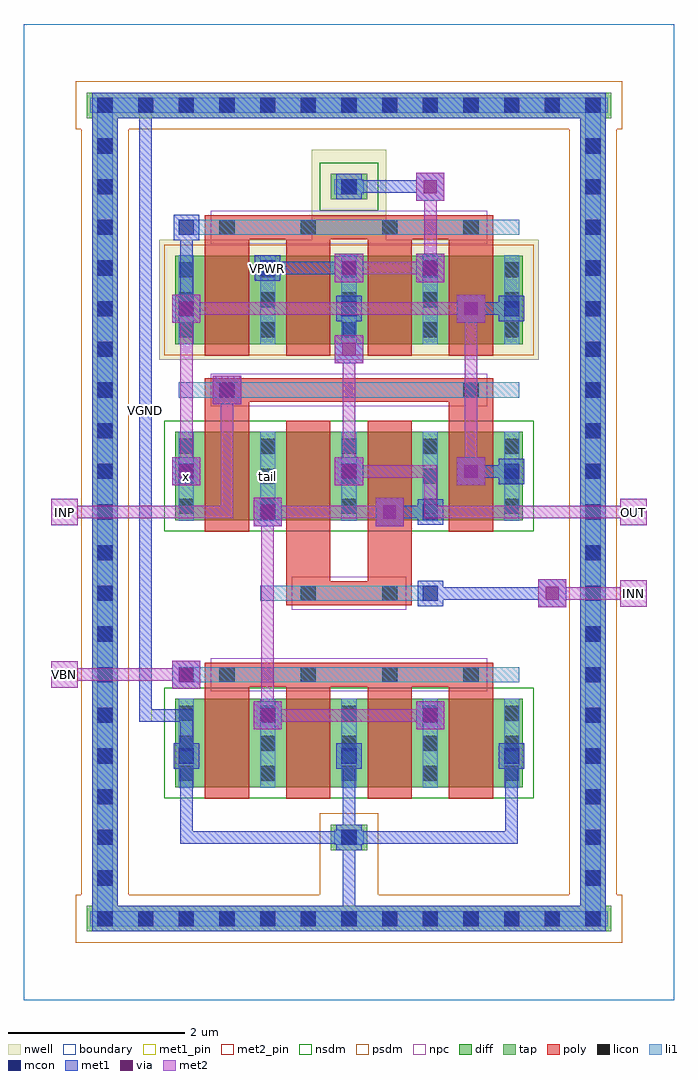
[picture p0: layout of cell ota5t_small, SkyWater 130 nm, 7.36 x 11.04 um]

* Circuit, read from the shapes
.subckt ota5t_small INN INP OUT VBN VGND VPWR tail x
XM1 tail VBN VGND VGND sky130_fd_pr__nfet_01v8 w=1 l=0.5 m=4
XM2 tail INP x VGND sky130_fd_pr__nfet_01v8 w=1 l=0.5 m=2
XM3 OUT INN tail VGND sky130_fd_pr__nfet_01v8 w=1 l=0.5 m=2
XM4 VPWR x x VPWR sky130_fd_pr__pfet_01v8 w=1 l=0.5 m=2
XM5 OUT x VPWR VPWR sky130_fd_pr__pfet_01v8 w=1 l=0.5 m=2
.ends

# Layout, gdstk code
import gdstk
lib = gdstk.Library(unit=1e-6, precision=1e-09)
def R(c, l, rs):  # rectangles x0, y0, x1, y1
    for r in rs: c.add(gdstk.rectangle(r[:2], r[2:], *l))
def A(c, l, x, y, w, h, nx, ny, dx, dy):  # array of equal rectangles
    R(c, l, [(x+i*dx, y+j*dy, x+i*dx+w, y+j*dy+h) for i in range(nx) for j in range(ny)])
nwell = (64, 20)
diff = (65, 20)
tap = (65, 44)
poly = (66, 20)
licon = (66, 44)
li1 = (67, 20)
mcon = (67, 44)
met1_pin = (68, 16)
met1 = (68, 20)
via = (68, 44)
met2_pin = (69, 16)
met2 = (69, 20)
nsdm = (93, 44)
psdm = (94, 20)
npc = (95, 20)
boundary = (235, 4)

ota5t_small = lib.new_cell('ota5t_small')
R(ota5t_small, nwell, [(1.535,7.24,5.825,8.6), (3.26,8.6,4.1,9.62)])
R(ota5t_small, diff, [(1.715,2.405,5.645,3.405), (1.715,5.425,5.645,6.425), (1.715,7.42,5.645,8.42)])
R(ota5t_small, tap, [(0.715,0.775,6.645,1.065), (0.775,0.775,1.065,10.265), (6.295,0.775,6.585,10.265), (3.475,1.695,3.885,1.985), (3.475,9.055,3.885,9.345), (0.715,9.975,6.645,10.265)])
A(ota5t_small, poly, 2.05, 2.275, 0.5, 1.405, 4, 1, 0.92, 0)
A(ota5t_small, poly, 2.05, 7.29, 0.5, 1.45, 4, 1, 0.92, 0)
R(ota5t_small, poly, [(2.05,3.545,5.31,3.815), (2.97,4.465,4.39,4.735), (2.97,4.6,3.47,6.555), (3.89,4.6,4.39,6.555), (2.05,5.295,2.55,6.9), (4.81,5.295,5.31,6.9), (2.05,6.765,5.31,7.035), (2.05,8.605,5.31,8.875)])
A(ota5t_small, licon, 0.835, 0.835, 0.17, 0.17, 13, 2, 0.46, 9.2)
A(ota5t_small, licon, 0.835, 1.755, 0.17, 0.17, 3, 2, 2.76, 7.36)
A(ota5t_small, licon, 0.835, 2.215, 0.17, 0.17, 1, 15, 0, 0.46)
A(ota5t_small, licon, 6.355, 2.215, 0.17, 0.17, 1, 15, 0, 0.46)
A(ota5t_small, licon, 1.755, 2.48, 0.17, 0.17, 5, 3, 0.92, 0.34)
A(ota5t_small, licon, 2.215, 3.595, 0.17, 0.17, 4, 2, 0.92, 5.06)
A(ota5t_small, licon, 1.755, 5.5, 0.17, 0.17, 5, 3, 0.92, 0.34)
A(ota5t_small, licon, 1.755, 7.495, 0.17, 0.17, 5, 3, 0.92, 0.34)
R(ota5t_small, licon, [(0.835,1.295,1.005,1.465), (6.355,1.295,6.525,1.465), (3.135,4.515,3.305,4.685), (4.055,4.515,4.225,4.685), (2.215,6.815,2.385,6.985), (4.975,6.815,5.145,6.985), (0.835,9.575,1.005,9.745), (6.355,9.575,6.525,9.745)])
A(ota5t_small, li1, 1.755, 2.4, 0.17, 1.01, 5, 2, 0.92, 3.02)
A(ota5t_small, li1, 1.755, 7.415, 0.17, 1.01, 5, 1, 0.92, 0)
R(ota5t_small, li1, [(0.755,0.835,6.605,1.005), (0.835,0.835,1.005,10.205), (6.355,0.835,6.525,10.205), (3.515,1.755,3.845,1.925), (1.755,3.595,5.605,3.765), (2.675,4.515,4.685,4.685), (1.755,6.815,5.605,6.985), (1.755,8.655,5.605,8.825), (3.515,9.115,3.845,9.285), (0.755,10.035,6.605,10.205)])
A(ota5t_small, mcon, 0.835, 0.835, 0.17, 0.17, 13, 2, 0.46, 9.2)
A(ota5t_small, mcon, 0.835, 1.755, 0.17, 0.17, 3, 2, 2.76, 7.36)
A(ota5t_small, mcon, 1.755, 2.675, 0.17, 0.17, 3, 2, 1.84, 3.22)
A(ota5t_small, mcon, 0.835, 3.135, 0.17, 0.17, 4, 2, 1.84, 2.3)
A(ota5t_small, mcon, 0.835, 3.595, 0.17, 0.17, 1, 4, 0, 0.46)
A(ota5t_small, mcon, 6.355, 3.595, 0.17, 0.17, 1, 4, 0, 0.46)
A(ota5t_small, mcon, 0.835, 5.895, 0.17, 0.17, 1, 5, 0, 0.46)
A(ota5t_small, mcon, 6.355, 5.895, 0.17, 0.17, 1, 5, 0, 0.46)
A(ota5t_small, mcon, 1.755, 7.735, 0.17, 0.17, 3, 1, 1.84, 0)
A(ota5t_small, mcon, 0.835, 8.195, 0.17, 0.17, 4, 1, 1.84, 0)
R(ota5t_small, mcon, [(0.835,1.295,1.005,1.465), (6.355,1.295,6.525,1.465), (0.835,2.215,1.005,2.385), (6.355,2.215,6.525,2.385), (0.835,2.675,1.005,2.845), (6.355,2.675,6.525,2.845), (1.755,3.595,1.925,3.765), (4.515,4.515,4.685,4.685), (2.215,6.815,2.385,6.985), (0.835,8.655,1.005,8.825), (1.755,8.655,1.925,8.825), (6.355,8.655,6.525,8.825), (0.835,9.575,1.005,9.745), (6.355,9.575,6.525,9.745)])
R(ota5t_small, met1_pin, [(1.31,3.15,1.45,10.19), (2.615,8.135,2.905,8.425)])
A(ota5t_small, met1, 1.77, 1.77, 0.14, 1.06, 3, 1, 1.84, 0)
A(ota5t_small, met1, 1.695, 2.615, 0.29, 0.29, 3, 2, 1.84, 3.22)
A(ota5t_small, met1, 1.695, 7.675, 0.29, 0.29, 3, 1, 1.84, 0)
R(ota5t_small, met1, [(0.775,0.775,6.585,1.065), (0.775,0.775,1.065,10.265), (6.295,0.775,6.585,10.265), (3.61,0.85,3.75,1.91), (3.61,0.85,3.75,0.99), (3.535,1.695,3.825,1.985), (1.77,1.77,3.75,1.91), (3.61,1.77,3.75,1.91), (3.61,1.77,5.59,1.91), (1.77,2.69,1.91,3.29), (2.6,3.06,2.92,3.38), (4.44,3.06,4.76,3.38), (2.615,3.075,2.905,3.365), (4.455,3.075,4.745,3.365), (1.31,3.15,1.91,3.29), (1.31,3.15,1.45,10.19), (1.68,3.52,2,3.84), (1.695,3.535,1.985,3.825), (5.82,4.44,6.14,4.76), (4.455,4.455,4.745,4.745), (4.53,4.53,6.05,4.67), (2.6,5.36,2.92,5.68), (3.98,5.36,4.3,5.68), (2.615,5.375,2.905,5.665), (4.455,5.375,4.745,5.665), (4.07,5.45,4.67,5.59), (1.68,5.82,2,6.14), (3.52,5.82,3.84,6.14), (4.9,5.82,5.22,6.14), (4.99,5.91,5.59,6.05), (2.14,6.74,2.46,7.06), (2.155,6.755,2.445,7.045), (3.52,7.2,3.84,7.52), (3.61,7.29,3.75,7.89), (1.68,7.66,2,7.98), (4.9,7.66,5.22,7.98), (1.77,7.75,1.91,8.81), (4.99,7.75,5.59,7.89), (3.52,8.12,3.84,8.44), (4.44,8.12,4.76,8.44), (2.615,8.135,2.905,8.425), (4.455,8.135,4.745,8.425), (2.69,8.21,3.75,8.35), (1.695,8.595,1.985,8.885), (4.44,9.04,4.76,9.36), (3.535,9.055,3.825,9.345), (3.61,9.13,3.75,9.27), (3.61,9.13,4.67,9.27), (0.775,9.975,6.585,10.265), (1.31,10.05,1.45,10.19)])
R(ota5t_small, via, [(2.685,3.145,2.835,3.295), (4.525,3.145,4.675,3.295), (1.765,3.605,1.915,3.755), (5.905,4.525,6.055,4.675), (2.685,5.445,2.835,5.595), (4.065,5.445,4.215,5.595), (1.765,5.905,1.915,6.055), (3.605,5.905,3.755,6.055), (4.985,5.905,5.135,6.055), (2.225,6.825,2.375,6.975), (3.605,7.285,3.755,7.435), (1.765,7.745,1.915,7.895), (4.985,7.745,5.135,7.895), (3.605,8.205,3.755,8.355), (4.525,8.205,4.675,8.355), (4.525,9.125,4.675,9.275)])
R(ota5t_small, met2_pin, [(0.31,3.53,0.61,3.83), (6.75,4.45,7.05,4.75), (0.31,5.37,0.61,5.67), (6.75,5.37,7.05,5.67)])
R(ota5t_small, met2, [(2.6,3.06,2.92,3.38), (4.44,3.06,4.76,3.38), (2.69,3.15,2.83,5.59), (2.69,3.15,4.67,3.29), (1.68,3.52,2,3.84), (0.31,3.53,0.61,3.83), (0.39,3.61,1.91,3.75), (0.39,3.61,0.53,3.75), (5.82,4.44,6.14,4.76), (6.75,4.45,7.05,4.75), (5.91,4.53,6.97,4.67), (6.83,4.53,6.97,4.67), (2.6,5.36,2.92,5.68), (3.98,5.36,4.3,5.68), (0.31,5.37,0.61,5.67), (6.75,5.37,7.05,5.67), (0.39,5.45,2.37,5.59), (0.39,5.45,0.53,5.59), (2.23,5.45,2.37,6.97), (2.69,5.45,4.21,5.59), (4.53,5.45,4.67,6.05), (4.53,5.45,6.97,5.59), (6.83,5.45,6.97,5.59), (1.68,5.82,2,6.14), (3.52,5.82,3.84,6.14), (4.9,5.82,5.22,6.14), (1.77,5.91,1.91,7.89), (3.61,5.91,4.67,6.05), (3.61,5.91,3.75,7.43), (4.99,5.91,5.13,7.89), (2.14,6.74,2.46,7.06), (3.52,7.2,3.84,7.52), (1.68,7.66,2,7.98), (4.9,7.66,5.22,7.98), (1.77,7.75,5.13,7.89), (3.52,8.12,3.84,8.44), (4.44,8.12,4.76,8.44), (3.61,8.21,4.67,8.35), (4.53,8.21,4.67,9.27), (4.44,9.04,4.76,9.36)])
R(ota5t_small, nsdm, [(1.59,2.28,5.77,3.53), (1.59,5.3,5.77,6.55), (3.35,8.93,4.01,9.47)])
R(ota5t_small, psdm, [(0.59,0.65,6.77,1.19), (0.65,1.19,1.19,9.85), (3.35,1.19,4.01,2.11), (6.17,1.19,6.71,9.85), (1.59,7.295,5.77,8.545), (0.59,9.85,6.77,10.39)])
R(ota5t_small, npc, [(2.115,3.495,5.245,3.865), (3.035,4.415,4.325,4.785), (2.115,6.715,5.245,7.085), (2.115,8.555,5.245,8.925)])
R(ota5t_small, boundary, [(0,0,7.36,11.04)])
ota5t_small.add(gdstk.Label('x', (1.84,5.925), layer=67, texttype=5))
ota5t_small.add(gdstk.Label('tail', (2.76,5.925), layer=67, texttype=5))
ota5t_small.add(gdstk.Label('VPWR', (2.76,8.28), layer=68, texttype=5))
ota5t_small.add(gdstk.Label('VGND', (1.38,6.67), layer=68, texttype=5))
ota5t_small.add(gdstk.Label('INP', (0.46,5.52), layer=69, texttype=5))
ota5t_small.add(gdstk.Label('INN', (6.9,4.6), layer=69, texttype=5))
ota5t_small.add(gdstk.Label('VBN', (0.46,3.68), layer=69, texttype=5))
ota5t_small.add(gdstk.Label('OUT', (6.9,5.52), layer=69, texttype=5))
ota5t_small.add(gdstk.Label('VPWR', (2.76,8.28), layer=68, texttype=16))
ota5t_small.add(gdstk.Label('VGND', (1.38,6.67), layer=68, texttype=16))
ota5t_small.add(gdstk.Label('INP', (0.46,5.52), layer=69, texttype=16))
ota5t_small.add(gdstk.Label('INN', (6.9,4.6), layer=69, texttype=16))
ota5t_small.add(gdstk.Label('VBN', (0.46,3.68), layer=69, texttype=16))
ota5t_small.add(gdstk.Label('OUT', (6.9,5.52), layer=69, texttype=16))

lib.write_gds('ota5t_small.gds')
